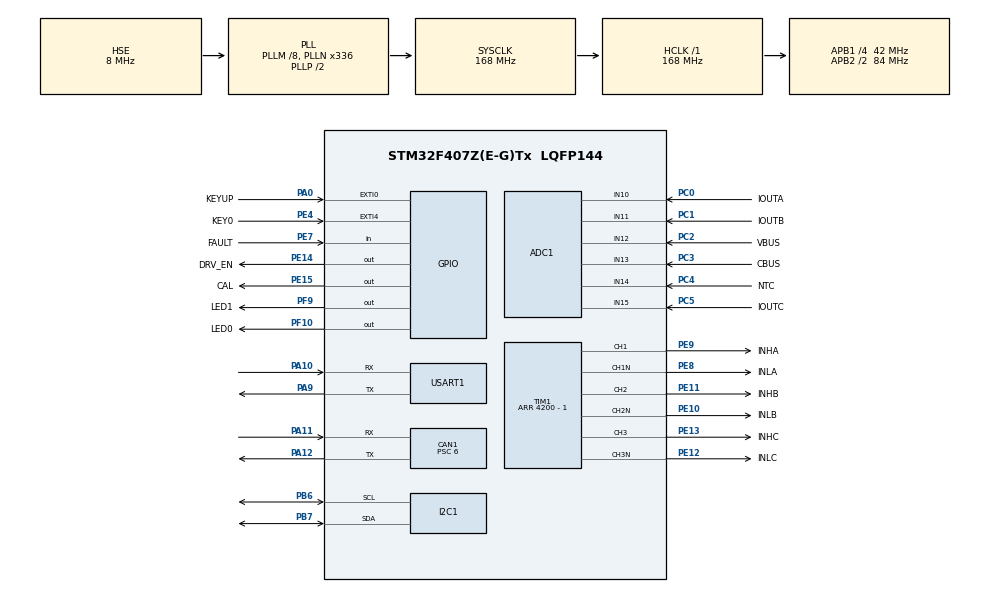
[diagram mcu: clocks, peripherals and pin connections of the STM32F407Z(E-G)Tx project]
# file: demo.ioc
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ADC1.Channel-1\#ChannelRegularConversion=ADC_CHANNEL_12
ADC1.Channel-10\#ChannelInjectedConversion=ADC_CHANNEL_15
ADC1.Channel-3\#ChannelRegularConversion=ADC_CHANNEL_13
ADC1.Channel-4\#ChannelRegularConversion=ADC_CHANNEL_14
ADC1.Channel-8\#ChannelInjectedConversion=ADC_CHANNEL_10
ADC1.Channel-9\#ChannelInjectedConversion=ADC_CHANNEL_11
ADC1.ContinuousConvMode=DISABLE
ADC1.DMAContinuousRequests=ENABLE
ADC1.DiscontinuousConvMode=DISABLE
ADC1.ExternalTrigConv=ADC_SOFTWARE_START
ADC1.ExternalTrigConvEdge=ADC_EXTERNALTRIGCONVEDGE_NONE
ADC1.ExternalTrigInjecConv=ADC_EXTERNALTRIGINJECCONV_T1_CC4
ADC1.InjNumberOfConversion=3
ADC1.InjectedConvMode=None
ADC1.InjectedOffset-10\#ChannelInjectedConversion=0
ADC1.InjectedOffset-8\#ChannelInjectedConversion=0
ADC1.InjectedOffset-9\#ChannelInjectedConversion=0
ADC1.InjectedRank-10\#ChannelInjectedConversion=3
ADC1.InjectedRank-8\#ChannelInjectedConversion=1
ADC1.InjectedRank-9\#ChannelInjectedConversion=2
ADC1.NbrOfConversion=3
ADC1.NbrOfConversionFlag=1
ADC1.Rank-1\#ChannelRegularConversion=1
ADC1.Rank-3\#ChannelRegularConversion=2
ADC1.Rank-4\#ChannelRegularConversion=3
ADC1.SamplingTime-1\#ChannelRegularConversion=ADC_SAMPLETIME_144CYCLES
ADC1.SamplingTime-10\#ChannelInjectedConversion=ADC_SAMPLETIME_28CYCLES
ADC1.SamplingTime-3\#ChannelRegularConversion=ADC_SAMPLETIME_144CYCLES
ADC1.SamplingTime-4\#ChannelRegularConversion=ADC_SAMPLETIME_144CYCLES
ADC1.SamplingTime-8\#ChannelInjectedConversion=ADC_SAMPLETIME_28CYCLES
ADC1.SamplingTime-9\#ChannelInjectedConversion=ADC_SAMPLETIME_28CYCLES
ADC1.ScanConvMode=ENABLE
ADC1.master=1
CAN1.ABOM=ENABLE
CAN1.BS1=CAN_BS1_11TQ
CAN1.BS2=CAN_BS2_2TQ
CAN1.CalculateBaudRate=500000
CAN1.CalculateTimeBit=2000
CAN1.CalculateTimeQuantum=142.85714285714286
CAN1.NART=ENABLE
CAN1.Prescaler=6
CAN1.TXFP=DISABLE
Dma.ADC1.0.Direction=DMA_PERIPH_TO_MEMORY
Dma.ADC1.0.FIFOMode=DMA_FIFOMODE_DISABLE
Dma.ADC1.0.Instance=DMA2_Stream0
Dma.ADC1.0.MemDataAlignment=DMA_MDATAALIGN_HALFWORD
Dma.ADC1.0.MemInc=DMA_MINC_ENABLE
Dma.ADC1.0.Mode=DMA_CIRCULAR
Dma.ADC1.0.PeriphDataAlignment=DMA_PDATAALIGN_HALFWORD
Dma.ADC1.0.PeriphInc=DMA_PINC_DISABLE
Dma.ADC1.0.Priority=DMA_PRIORITY_LOW
Dma.Request0=ADC1
I2C1.I2C_Mode=I2C_Fast
Mcu.Family=STM32F4
Mcu.Name=STM32F407Z(E-G)Tx
Mcu.Package=LQFP144
NVIC.ADC_IRQn=true\:2\:0\:true\:false\:true\:true\:true\:true
NVIC.DMA2_Stream0_IRQn=true\:3\:0\:true\:false\:true\:false\:true\:true
NVIC.EXTI0_IRQn=true\:0\:0\:false\:false\:true\:true\:true\:true
NVIC.EXTI4_IRQn=true\:0\:0\:true\:false\:true\:true\:true\:true
NVIC.PriorityGroup=NVIC_PRIORITYGROUP_4
PA0-WKUP.GPIO_Label=KEYUP
PA0-WKUP.GPIO_ModeDefaultEXTI=GPIO_MODE_IT_FALLING
PA0-WKUP.GPIO_PuPd=GPIO_PULLDOWN
PA0-WKUP.Signal=GPXTI0
PA10.Mode=Asynchronous
PA10.Signal=USART1_RX
PA11.Mode=CAN_Activate
PA11.Signal=CAN1_RX
PA12.Mode=CAN_Activate
PA12.Signal=CAN1_TX
PA9.Mode=Asynchronous
PA9.Signal=USART1_TX
PB6.GPIO_Pu=GPIO_PULLUP
PB6.GPIO_Speed=GPIO_SPEED_FREQ_LOW
PB6.Mode=I2C
PB6.Signal=I2C1_SCL
PB7.GPIO_Pu=GPIO_PULLUP
PB7.GPIO_Speed=GPIO_SPEED_FREQ_LOW
PB7.Mode=I2C
PB7.Signal=I2C1_SDA
PC0.GPIO_Label=IOUTA
PC0.Signal=ADCx_IN10
PC1.GPIO_Label=IOUTB
PC1.Signal=ADCx_IN11
PC2.GPIO_Label=VBUS
PC2.Signal=ADCx_IN12
PC3.GPIO_Label=CBUS
PC3.Signal=ADCx_IN13
PC4.GPIO_Label=NTC
PC4.Signal=ADCx_IN14
PC5.GPIO_Label=IOUTC
PC5.Signal=ADCx_IN15
PE10.GPIO_Label=INLB
PE10.Mode=PWM Generation2 CH2 CH2N
PE10.Signal=TIM1_CH2N
PE11.GPIO_Label=INHB
PE11.Signal=S_TIM1_CH2
PE12.GPIO_Label=INLC
PE12.Mode=PWM Generation3 CH3 CH3N
PE12.Signal=TIM1_CH3N
PE13.GPIO_Label=INHC
PE13.Signal=S_TIM1_CH3
PE14.GPIO_Label=DRV_EN
PE14.GPIO_ModeDefaultOutputPP=GPIO_MODE_OUTPUT_PP
PE14.Signal=GPIO_Output
PE15.GPIO_Label=CAL
PE15.Signal=GPIO_Output
PE4.GPIO_Label=KEY0
PE4.GPIO_ModeDefaultEXTI=GPIO_MODE_IT_FALLING
PE4.GPIO_PuPd=GPIO_PULLDOWN
PE4.Signal=GPXTI4
PE7.GPIO_Label=FAULT
PE7.GPIO_PuPd=GPIO_PULLUP
PE7.Signal=GPIO_Input
PE8.GPIO_Label=INLA
PE8.Mode=PWM Generation1 CH1 CH1N
PE8.Signal=TIM1_CH1N
PE9.GPIO_Label=INHA
PE9.Signal=S_TIM1_CH1
PF10.GPIO_Label=LED0
PF10.PinState=GPIO_PIN_SET
PF10.Signal=GPIO_Output
PF9.GPIO_Label=LED1
PF9.PinState=GPIO_PIN_SET
PF9.Signal=GPIO_Output
PH0-OSC_IN.Mode=HSE-External-Oscillator
PH0-OSC_IN.Signal=RCC_OSC_IN
PH1-OSC_OUT.Mode=HSE-External-Oscillator
PH1-OSC_OUT.Signal=RCC_OSC_OUT
ProjectManager.HeapSize=0x200
ProjectManager.StackSize=0x400
ProjectManager.TargetToolchain=MDK-ARM V5
RCC.48MHZClocksFreq_Value=84000000
RCC.AHBFreq_Value=168000000
RCC.APB1CLKDivider=RCC_HCLK_DIV4
RCC.APB1Freq_Value=42000000
RCC.APB1TimFreq_Value=84000000
RCC.APB2CLKDivider=RCC_HCLK_DIV2
RCC.APB2Freq_Value=84000000
RCC.APB2TimFreq_Value=168000000
RCC.CortexFreq_Value=168000000
RCC.HCLKFreq_Value=168000000
RCC.HSE_VALUE=8000000
RCC.HSI_VALUE=16000000
RCC.LSE_VALUE=32768
RCC.PLLM=8
RCC.PLLN=336
RCC.PLLSourceVirtual=RCC_PLLSOURCE_HSE
RCC.SYSCLKFreq_VALUE=168000000
RCC.SYSCLKSource=RCC_SYSCLKSOURCE_PLLCLK
RCC.VCOOutputFreq_Value=336000000
SH.ADCx_IN10.0=ADC1_IN10,IN10
SH.ADCx_IN11.0=ADC1_IN11,IN11
SH.ADCx_IN12.0=ADC1_IN12,IN12
SH.ADCx_IN13.0=ADC1_IN13,IN13
SH.ADCx_IN14.0=ADC1_IN14,IN14
SH.ADCx_IN15.0=ADC1_IN15,IN15
SH.S_TIM1_CH1.0=TIM1_CH1,PWM Generation1 CH1 CH1N
SH.S_TIM1_CH2.0=TIM1_CH2,PWM Generation2 CH2 CH2N
SH.S_TIM1_CH3.0=TIM1_CH3,PWM Generation3 CH3 CH3N
TIM1.AutoReloadPreload=TIM_AUTORELOAD_PRELOAD_ENABLE
TIM1.AutomaticOutput=TIM_AUTOMATICOUTPUT_DISABLE
TIM1.Channel-Output\ Compare4\ No\ Output=TIM_CHANNEL_4
TIM1.Channel-PWM\ Generation1\ CH1\ CH1N=TIM_CHANNEL_1
TIM1.Channel-PWM\ Generation2\ CH2\ CH2N=TIM_CHANNEL_2
TIM1.Channel-PWM\ Generation3\ CH3\ CH3N=TIM_CHANNEL_3
TIM1.CounterMode=TIM_COUNTERMODE_CENTERALIGNED1
TIM1.DeadTime=148
TIM1.OCMode_4=TIM_OCMODE_TOGGLE
TIM1.OffStateIDLEMode=TIM_OSSI_ENABLE
TIM1.OffStateRunMode=TIM_OSSR_ENABLE
TIM1.Period=4200 - 1
TIM1.Pulse-Output\ Compare4\ No\ Output=3600
TIM1.TIM_MasterOutputTrigger=TIM_TRGO_UPDATE
TIM1.TIM_MasterSlaveMode=TIM_MASTERSLAVEMODE_ENABLE
TIM6.Period=65536-1
TIM6.Prescaler=84 - 1
USART1.VirtualMode=VM_ASYNC
VP_TIM1_VS_ClockSourceINT.Mode=Internal
VP_TIM1_VS_no_output4.Mode=Output Compare4 No Output
VP_TIM6_VS_ClockSourceINT.Mode=Enable_Timer
board=custom

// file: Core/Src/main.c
/* USER CODE BEGIN Header */
/**
 ******************************************************************************
 * @file           : main.c
 * @brief          : Main program body
 ******************************************************************************
 * @attention
 *
 * Copyright (c) 2026 STMicroelectronics.
 * All rights reserved.
 *
 * This software is licensed under terms that can be found in the LICENSE file
 * in the root directory of this software component.
 * If no LICENSE file comes with this software, it is provided AS-IS.
 *
 ******************************************************************************
 */
/* USER CODE END Header */
#include "main.h"
#include "adc.h"
#include "can.h"
#include "dma.h"
#include "i2c.h"
#include "tim.h"
#include "usart.h"
#include "gpio.h"

/* USER CODE BEGIN Includes */
#include <stdio.h>
#include "arm_math.h"
#include "AS5600.h"
#include "adc_signal.h"
#include "foc.h"
#include "delay.h"

#include "FreeRTOSConfig.h"
#include "FreeRTOS.h"
#include "task.h"
/* USER CODE END Includes */

/* USER CODE BEGIN PD */
// 任务句柄

TaskHandle_t AS5600Handle = NULL;    // 编码器采取任务
TaskHandle_t LogHandle = NULL;       // 串口打印任务
TaskHandle_t SpeedLoopHandle = NULL; // 速度环任务句柄
TaskHandle_t CanHandle = NULL;       // CAN任务句柄

static float open_loop_theta = 0.0f;

volatile Motors_State motors_state = MotorsStop; // 电机状态，默认停止
volatile Can_States can_state = CanStop;         // Can总线状态，默认停止

volatile uint16_t adc_Regular_buffer[3]; // 存储ADC规则组数据 V-BUS 母线电压 C-BUS 母线电流 NTC 温度采样

volatile float v_bus = 0.0f; // ⺟线电压采样输出，对应 ADC_VBUS
volatile float c_bus = 0.0f; // ⺟线电流采样输出，对应 ADC_CBUS
volatile float ntc = 0.0f;   // 温度采样输出，对应 ADC_NTC

// 电角度零点偏置校准
volatile float electrical_offset = 0.0f;
volatile float real_elec_rad = 0.0f;
// 零点偏置校准
volatile uint16_t of_a = 0, of_b = 0, of_c = 0;

int16_t raw_a = 0, raw_b = 0, raw_c = 0;
// 采样电流
volatile float Ia = 0.0f, Ib = 0.0f, Ic = 0.0f; // 三相采样电流
volatile float elec_rad = 0.0f;                 // 电角度（弧度制）
volatile float now_rpm = 0.0f;                  // 电角度转速（RPM）

volatile float ialpha = 0.0f;
volatile float ibeta = 0.0f;

float id = 0.0f;
float iq = 0.0f;

volatile AS5600_DataTypeDef enc;
PI_Controller_t pi_id;    // 电流环
PI_Controller_t pi_iq;    // 电流环
PI_Controller_t pi_speed; // 速度环 PI 控制器结构体实例
FOC_Control_t foc_ctrl;

volatile float32_t target_rpm = 0.0f; // 目标转速
volatile float32_t Iq_ref = 0.0f;     // 目标电流 Iq_ref，来自速度环输出，作为电流环的目标值

/* USER CODE END PD */

/* USER CODE BEGIN PM */
/* 根据你的实际 PWM/电源参数设置 */
#define FOC_DT 0.00005f      // 示例：20 kHz 控制周期
#define SPEED_LPF_ALPHA 0.2f // 速度一阶低通滤波系数（取值 0~1，越小抗噪越强但滞后越大）

#define Motor_Speed 100.0f // 目标转速

#define KP_INIT 0.5f
#define KI_INIT 0.05f
#define OUT_MIN -10.0f
#define OUT_MAX 10.0f

/* USER CODE END PM */

void SystemClock_Config(void);

/* USER CODE BEGIN 0 */

void Led_Toggle()
{
  HAL_GPIO_TogglePin(LED0_GPIO_Port, LED0_Pin);
  HAL_GPIO_TogglePin(LED1_GPIO_Port, LED1_Pin);
  delay_ms(100);
  HAL_GPIO_TogglePin(LED0_GPIO_Port, LED0_Pin);
  HAL_GPIO_TogglePin(LED1_GPIO_Port, LED1_Pin);
  delay_ms(100);
  HAL_GPIO_TogglePin(LED0_GPIO_Port, LED0_Pin);
  HAL_GPIO_TogglePin(LED1_GPIO_Port, LED1_Pin);
  delay_ms(100);
}

void Get_Current_Offset(void)
{
  uint32_t sum_a = 0, sum_b = 0, sum_c = 0;
  uint16_t cnt = 0;

  float align_valpha = 1.5f;
  float align_vbeta = 0.0f;
  float d_a, d_b, d_c;

  // AB相采样电流偏置
  HAL_ADC_Start_DMA(&hadc1, (uint32_t *)adc_Regular_buffer, 3);
  HAL_TIM_OC_Start(&htim1, TIM_CHANNEL_4);
  __HAL_TIM_MOE_DISABLE(&htim1);

  while (cnt < 2000)
  {
    // 软件手动单次触发注入组采样
    HAL_ADCEx_InjectedStart(&hadc1);

    // 等待 ADC 硬件采样转换完成（超时设为 10ms）
    if (HAL_ADCEx_InjectedPollForConversion(&hadc1, 10) == HAL_OK)
    {
      sum_a += HAL_ADCEx_InjectedGetValue(&hadc1, ADC_INJECTED_RANK_1);
      sum_b += HAL_ADCEx_InjectedGetValue(&hadc1, ADC_INJECTED_RANK_2);
      sum_c += HAL_ADCEx_InjectedGetValue(&hadc1, ADC_INJECTED_RANK_3);
      cnt++;
    }
    delay_us(100);
  }

  of_a = sum_a / cnt;
  of_b = sum_b / cnt;
  of_c = sum_c / cnt;

  // 获取真实母线电压（单位：V），防止传原始ADC码值
  float real_vbus = FOC_GetVbus(adc_Regular_buffer[0]);
  if (real_vbus < 1.0f)
  {
    real_vbus = 12.0f; // 兜底，防止除零
  }

  // 电角度0°偏置校准
  FOC_SVPWM(align_valpha, align_vbeta, real_vbus, &d_a, &d_b, &d_c);
  TIM1->CCR1 = (uint32_t)(d_a * (__HAL_TIM_GET_AUTORELOAD(&htim1) + 1U));
  TIM1->CCR2 = (uint32_t)(d_b * (__HAL_TIM_GET_AUTORELOAD(&htim1) + 1U));
  TIM1->CCR3 = (uint32_t)(d_c * (__HAL_TIM_GET_AUTORELOAD(&htim1) + 1U));

  HAL_TIM_PWM_Start(&htim1, TIM_CHANNEL_1);
  HAL_TIM_PWM_Start(&htim1, TIM_CHANNEL_2);
  HAL_TIM_PWM_Start(&htim1, TIM_CHANNEL_3);
  HAL_TIMEx_PWMN_Start(&htim1, TIM_CHANNEL_1);
  HAL_TIMEx_PWMN_Start(&htim1, TIM_CHANNEL_2);
  HAL_TIMEx_PWMN_Start(&htim1, TIM_CHANNEL_3);

  __HAL_TIM_MOE_ENABLE(&htim1);
  HAL_TIM_Base_Start(&htim1);

  delay_ms(1000);

  if (as5600_update() == 1)
  {
    // 获得编码器读取数据
    as5600_get_data(&enc);
    electrical_offset = enc.elec_angle; // 电角度
  }

  printf("Offset_A = %d, Offset_B = %d, Offset_C = %d, Offset_Elec = %.3f\n", of_a, of_b, of_c, electrical_offset);
}

// 编码器采集任务
void vAS5600Task(void *argument)
{
  (void)argument;

  for (;;)
  {
    if (motors_state == MotorsStop)
    {
      Led_Toggle();
      vTaskSuspend(NULL);
    }

    // I2C 失败就跳过
    if (as5600_update() == 1)
    {
      // 获得编码器读取数据
      as5600_get_data(&enc);
      elec_rad = enc.elec_angle; // 电角度
      now_rpm = enc.rpm;         // 电角度转速
    }

    HAL_ADC_Start_DMA(&hadc1, (uint32_t *)adc_Regular_buffer, 3);

    vTaskDelay(pdMS_TO_TICKS(1));
  }
}

// ADC采集任务
void vLogTask(void *argument)
{
  (void)argument;

  for (;;)
  {
    if (motors_state == MotorsStop)
    {
      Led_Toggle();
      vTaskSuspend(NULL);
    }
    // 测试计算耗时
    // printf("delay = %d\n", delay);B

    printf("Raw: A = %d, B = %d, C = %d, Ia: %.3f, Ib: %.3f, Ic: %.3f\n", raw_a, raw_b, raw_c, Ia, Ib, Ic);

    // printf("电角度: %.3f, 转速: %.3f\n", real_elec_rad, now_rpm);

    // printf("Ia: %.3f, Ib: %.3f, Ic: %.3f\n", Ia, Ib, Ic);

    printf("VBus: %.3f, CBus: %.3f, NTC: %.3f\n", v_bus, c_bus, ntc);

    // printf("ialpha: %.3f, ibeta: %.3f, id: %.3f, iq: %.3f\n", ialpha, ibeta, id, iq);

    // printf("vd: %.3f, vq: %.3f, duty_a: %.3f, duty_b: %.3f, duty_c: %.3f\n", foc_ctrl.vd, foc_ctrl.vq, foc_ctrl.duty_a, foc_ctrl.duty_b, foc_ctrl.duty_c);

    // printf("目标转速: %.3f, 目标电流Iq_ref: %.3f\n", target_rpm, Iq_ref);

    // printf("pwm: A = %.3f, B = %.3f, c = %.3f\n", foc_ctrl.duty_a, foc_ctrl.duty_b, foc_ctrl.duty_c);

    vTaskDelay(pdMS_TO_TICKS(200));
  }
}

// 速度环
void vSpeedLoopTask(void *argument)
{
  (void)argument;
  float32_t filtered_rpm = 0.0f;

  for (;;)
  {
    if (motors_state == MotorsStop)
    {
      Led_Toggle();
      vTaskSuspend(NULL);
    }

    if (motors_state == MotorsStart)
    {
      float32_t raw_rpm = now_rpm;

      // 一阶低通滤波
      filtered_rpm += SPEED_LPF_ALPHA * (raw_rpm - filtered_rpm);

      // dt = 0.01s（10ms）
      float32_t target_iq = PI_Update(&pi_speed, target_rpm, filtered_rpm, 0.01f);
      Iq_ref = target_iq;
    }
    else
    {
      // 非运行状态强制清零，防止积分冲击
      pi_speed.integral = 0.0f;
      Iq_ref = 0.0f;
    }

    vTaskDelay(pdMS_TO_TICKS(10));
  }
}

void vCANTask(void *argument)
{
  (void)argument;

  CAN_Frame_t frame = {0};
  HAL_StatusTypeDef can_status = HAL_OK;

  if (HAL_CAN_Start(&hcan1) != HAL_OK)
  {
    can_state = CanError;
    printf("CAN States is Failed!\n");
    vTaskDelete(NULL);
  }
  can_state = CanRunning;

  for (;;)
  {
    if (motors_state == MotorsStop)
    {
      Led_Toggle();
      vTaskSuspend(NULL);
    }

    can_status = HAL_OK;

    frame.id = 0x001;
    frame.dlc = 2;
    frame.data[0] = motors_state;
    frame.data[1] = can_state;
    if (CAN_SendFrameWait(&frame) != HAL_OK)
    {
      can_status = HAL_ERROR;
    }

    // 转速/电流
    frame.id = 0x201;
    frame.dlc = 8;
    CAN_Write_16(&frame.data[0], (int16_t)target_rpm);
    CAN_Write_16(&frame.data[2], (int16_t)now_rpm);
    CAN_Write_16(&frame.data[4], (int16_t)(Iq_ref * 1000));
    CAN_Write_16(&frame.data[6], (int16_t)(iq * 1000));
    if (CAN_SendFrameWait(&frame) != HAL_OK)
    {
      can_status = HAL_ERROR;
    }

    // 三相采样电流
    frame.id = 0x202;
    frame.dlc = 6;
    CAN_Write_16(&frame.data[0], (int16_t)(Ia * 1000));
    CAN_Write_16(&frame.data[2], (int16_t)(Ib * 1000));
    CAN_Write_16(&frame.data[4], (int16_t)(Ic * 1000));
    if (CAN_SendFrameWait(&frame) != HAL_OK)
    {
      can_status = HAL_ERROR;
    }

    // 母线电压/电流/温度
    frame.id = 0x203;
    frame.dlc = 6;
    CAN_Write_16(&frame.data[0], (int16_t)(v_bus * 10));
    CAN_Write_16(&frame.data[2], (int16_t)(c_bus * 1000));
    CAN_Write_16(&frame.data[4], (int16_t)(ntc * 100));
    if (CAN_SendFrameWait(&frame) != HAL_OK)
    {
      can_status = HAL_ERROR;
    }

    // PWM占空比
    frame.id = 0x204;
    frame.dlc = 6;
    CAN_Write_16(&frame.data[0], (int16_t)(foc_ctrl.duty_a * 100));
    CAN_Write_16(&frame.data[2], (int16_t)(foc_ctrl.duty_b * 100));
    CAN_Write_16(&frame.data[4], (int16_t)(foc_ctrl.duty_c * 100));
    if (CAN_SendFrameWait(&frame) != HAL_OK)
    {
      can_status = HAL_ERROR;
    }

    // vd/vq/valpha/vbeta
    frame.id = 0x205;
    frame.dlc = 8;
    CAN_Write_16(&frame.data[0], (int16_t)(foc_ctrl.vd * 1000));
    CAN_Write_16(&frame.data[2], (int16_t)(foc_ctrl.vq * 1000));
    CAN_Write_16(&frame.data[4], (int16_t)(foc_ctrl.valpha * 1000));
    CAN_Write_16(&frame.data[6], (int16_t)(foc_ctrl.vbeta * 1000));
    if (CAN_SendFrameWait(&frame) != HAL_OK)
    {
      can_status = HAL_ERROR;
    }

    can_state = (can_status == HAL_OK) ? CanRunning : CanError;

    vTaskDelay(pdMS_TO_TICKS(100));
  }
}

// 创建任务
void vOtherFunction(void)
{
  BaseType_t xAS5600Returned = xTaskCreate(vAS5600Task, "AS5600", 512, NULL, 4, &AS5600Handle);
  BaseType_t xLogReturned = xTaskCreate(vLogTask, "Log", 512, NULL, 0, &LogHandle);
  BaseType_t xSpeedLoopHandle = xTaskCreate(vSpeedLoopTask, "SpeedLoop", 512, NULL, 3, &SpeedLoopHandle);
  BaseType_t xCANTaskHandle = xTaskCreate(vCANTask, "CAN", 512, NULL, 2, &CanHandle);

  // if (xReturned != pdPASS)
  // {
  // }
}

/* USER CODE END 0 */

int main(void)
{

  /* MCU Configuration--------------------------------------------------------*/

  /* Reset of all peripherals, Initializes the Flash interface and the Systick. */
  HAL_Init();

  /* Configure the system clock */
  SystemClock_Config();

  /* Initialize all configured peripherals */
  MX_GPIO_Init();
  MX_DMA_Init();
  MX_I2C1_Init();
  MX_ADC1_Init();
  MX_TIM1_Init();
  MX_TIM6_Init();
  MX_USART1_UART_Init();
  MX_CAN1_Init();
  /* USER CODE BEGIN 2 */

  /* 开启DWT周期计数器，只需执行一次 */
  CoreDebug->DEMCR |= CoreDebug_DEMCR_TRCENA_Msk;
  DWT->CYCCNT = 0;
  DWT->CTRL |= DWT_CTRL_CYCCNTENA_Msk;

  // 初始化定时器tim6
  HAL_TIM_Base_Start(&htim6);

  // 初始化编码器
  while (as5600_init() == 0)
  {
    printf("编码器初始化失败，重试中...\r\n");
    delay_ms(200);
  }

  // 电流环PI初始化控制器
  PI_Init(&pi_id, KP_INIT, KI_INIT, OUT_MIN, OUT_MAX);
  PI_Init(&pi_iq, KP_INIT, KI_INIT, OUT_MIN, OUT_MAX);
  // 速度环PI初始化控制器
  // 参数 2 (Kp): 比例系数。控制响应速度。由于低通滤波有滞后，建议先给小值（如 0.01f 到 0.03f 盲调）
  // 参数 3 (Ki): 积分系数。消除静差。建议从 0.05f ~ 0.1f 开始调校
  PI_Init(&pi_speed, 0.005f, 0.05f, -1.0f, 1.0f);
  // 开机默认目标转速设为 0 RPM（静止）
  target_rpm = Motor_Speed;

  // 确保 DRV_EN 和 CAL 为低
  HAL_GPIO_WritePin(DRV_EN_GPIO_Port, DRV_EN_Pin, GPIO_PIN_RESET);
  HAL_GPIO_WritePin(CAL_GPIO_Port, CAL_Pin, GPIO_PIN_RESET);

  // 可以通电，led灯亮
  HAL_GPIO_WritePin(LED0_GPIO_Port, LED0_Pin, GPIO_PIN_RESET);
  HAL_GPIO_WritePin(LED1_GPIO_Port, LED1_Pin, GPIO_PIN_RESET);

  // 等待按键按下，确认通电，led灯灭
  do
  {
    delay_ms(200);
  } while (motors_state != MotorsReady);

  HAL_GPIO_WritePin(LED0_GPIO_Port, LED0_Pin, GPIO_PIN_SET);
  HAL_GPIO_WritePin(LED1_GPIO_Port, LED1_Pin, GPIO_PIN_SET);

  // 拉高DRV_EN
  HAL_GPIO_WritePin(DRV_EN_GPIO_Port, DRV_EN_Pin, GPIO_PIN_SET);

  // 唤醒完成后确认 FAULT 为⾼电平
  while (HAL_GPIO_ReadPin(FAULT_GPIO_Port, FAULT_Pin) == 0)
  {
    HAL_GPIO_TogglePin(LED0_GPIO_Port, LED0_Pin);
    HAL_GPIO_TogglePin(LED1_GPIO_Port, LED1_Pin);
    delay_ms(100);
  }

  delay_ms(1000); // 等待采样电路稳定

  // 开始进行电流偏置校准 + 电角度0点校准
  Get_Current_Offset();
  motors_state = MotorsOffset;

  HAL_ADCEx_InjectedStart_IT(&hadc1);

  // 10.任务创建
  vOtherFunction();

  // 11.启动FreeRTOS调度器
  vTaskStartScheduler();

  /* USER CODE END 2 */

  /* Infinite loop */
  while (1)
  {

  }
}

void SystemClock_Config(void)
{
  RCC_OscInitTypeDef RCC_OscInitStruct = {0};
  RCC_ClkInitTypeDef RCC_ClkInitStruct = {0};

  /** Configure the main internal regulator output voltage
   */
  __HAL_RCC_PWR_CLK_ENABLE();
  __HAL_PWR_VOLTAGESCALING_CONFIG(PWR_REGULATOR_VOLTAGE_SCALE1);

  /** Initializes the RCC Oscillators according to the specified parameters
   * in the RCC_OscInitTypeDef structure.
   */
  RCC_OscInitStruct.OscillatorType = RCC_OSCILLATORTYPE_HSE;
  RCC_OscInitStruct.HSEState = RCC_HSE_ON;
  RCC_OscInitStruct.PLL.PLLState = RCC_PLL_ON;
  RCC_OscInitStruct.PLL.PLLSource = RCC_PLLSOURCE_HSE;
  RCC_OscInitStruct.PLL.PLLM = 8;
  RCC_OscInitStruct.PLL.PLLN = 336;
  RCC_OscInitStruct.PLL.PLLP = RCC_PLLP_DIV2;
  RCC_OscInitStruct.PLL.PLLQ = 4;
  if (HAL_RCC_OscConfig(&RCC_OscInitStruct) != HAL_OK)
  {
    Error_Handler();
  }

  /** Initializes the CPU, AHB and APB buses clocks
   */
  RCC_ClkInitStruct.ClockType = RCC_CLOCKTYPE_HCLK | RCC_CLOCKTYPE_SYSCLK | RCC_CLOCKTYPE_PCLK1 | RCC_CLOCKTYPE_PCLK2;
  RCC_ClkInitStruct.SYSCLKSource = RCC_SYSCLKSOURCE_PLLCLK;
  RCC_ClkInitStruct.AHBCLKDivider = RCC_SYSCLK_DIV1;
  RCC_ClkInitStruct.APB1CLKDivider = RCC_HCLK_DIV4;
  RCC_ClkInitStruct.APB2CLKDivider = RCC_HCLK_DIV2;

  if (HAL_RCC_ClockConfig(&RCC_ClkInitStruct, FLASH_LATENCY_5) != HAL_OK)
  {
    Error_Handler();
  }
}

/* USER CODE BEGIN 4 */

// 按键外部中断 - 急停
void HAL_GPIO_EXTI_Callback(uint16_t GPIO_Pin)
{
  if (GPIO_Pin == KEY0_Pin)
  {
    // 1.防抖 - 停止接收中断
    HAL_NVIC_DisableIRQ(EXTI4_IRQn);

    // 2.开启急停标志
    motors_state = MotorsStop;

    // 3.相关硬件设备关闭

    // 拉低DRV_EN，DRV8323会瞬间进入休眠，封锁所有MOE管输出
    HAL_GPIO_WritePin(DRV_EN_GPIO_Port, DRV_EN_Pin, GPIO_PIN_RESET);
    // 关闭 TIM1 的 PWM 主输出水闸 (MOE)
    __HAL_TIM_MOE_DISABLE(&htim1);
    // 停止ADC采样转换
    HAL_ADC_Stop_DMA(&hadc1);
    HAL_ADCEx_InjectedStop_IT(&hadc1);
    // 停止PWM通道 (双保险)
    HAL_TIM_PWM_Stop(&htim1, TIM_CHANNEL_1);
    HAL_TIM_PWM_Stop(&htim1, TIM_CHANNEL_2);
    HAL_TIM_PWM_Stop(&htim1, TIM_CHANNEL_3);
    HAL_TIMEx_PWMN_Stop(&htim1, TIM_CHANNEL_1);
    HAL_TIMEx_PWMN_Stop(&htim1, TIM_CHANNEL_2);
    HAL_TIMEx_PWMN_Stop(&htim1, TIM_CHANNEL_3);
  }
  else if (GPIO_Pin == KEYUP_Pin)
  {
    motors_state = MotorsReady;
  }
}
// ADC 注入通道转换完成回调函数
void HAL_ADC_ConvCpltCallback(ADC_HandleTypeDef *hadc)
{
  if (hadc->Instance == ADC1)
  {
    v_bus = FOC_GetVbus(adc_Regular_buffer[0]);
    c_bus = FOC_GetCbus(adc_Regular_buffer[1]);
    ntc = FOC_GetNTC(adc_Regular_buffer[2]);
  }
}

volatile uint32_t foc_cycles = 0;     // 本次耗费的CPU周期数
volatile uint32_t foc_cycles_max = 0; // 记录观察期间的最大值

// ADC 注入通道转换完成回调函数
void HAL_ADCEx_InjectedConvCpltCallback(ADC_HandleTypeDef *hadc)
{
  uint32_t start_cycles = DWT->CYCCNT;

  if (hadc->Instance == ADC1)
  {
    if (motors_state < MotorsOffset)
      return;
    if (motors_state == MotorsOffset)
      motors_state = MotorsStart;

    // 计算真实电角度并归一化（供电流环使用）
    real_elec_rad = elec_rad - electrical_offset;
    if (real_elec_rad < 0.0f)
      real_elec_rad += TWO_PI;
    if (real_elec_rad >= TWO_PI)
      real_elec_rad -= TWO_PI;

    // 读取ADC注入组的采集的ABC三相电流采样输出  --这里只采AB相电流，换算出Ia和Ib后计算得出Ic
    raw_a = HAL_ADCEx_InjectedGetValue(hadc, ADC_INJECTED_RANK_1);
    raw_b = HAL_ADCEx_InjectedGetValue(hadc, ADC_INJECTED_RANK_2);
    raw_c = HAL_ADCEx_InjectedGetValue(hadc, ADC_INJECTED_RANK_3);

    Ia = CurrentSense_Convert(raw_a, of_a);
    Ib = CurrentSense_Convert(raw_b, of_b);
    Ic = CurrentSense_Convert(raw_c, of_c);

    FOC_Clarke(Ia, Ib, &ialpha, &ibeta);
    FOC_Park(ialpha, ibeta, real_elec_rad, &id, &iq);

    // 电流环 双闭环
    foc_ctrl.vd = PI_Update(&pi_id, 0.0f, id, FOC_DT);
    foc_ctrl.vq = PI_Update(&pi_iq, Iq_ref, iq, FOC_DT); // Iq_ref来自速度环

    // 反Park
    FOC_InversePark(foc_ctrl.vd, foc_ctrl.vq, real_elec_rad, &foc_ctrl.valpha, &foc_ctrl.vbeta);

    // SVPWM：先计算占空比，不写 TIM1 CCR
    FOC_SVPWM(foc_ctrl.valpha, foc_ctrl.vbeta, v_bus, &foc_ctrl.duty_a, &foc_ctrl.duty_b, &foc_ctrl.duty_c);

    // 更新占空比
    TIM1->CCR1 = (uint32_t)(foc_ctrl.duty_a * (__HAL_TIM_GET_AUTORELOAD(&htim1) + 1U));
    TIM1->CCR2 = (uint32_t)(foc_ctrl.duty_b * (__HAL_TIM_GET_AUTORELOAD(&htim1) + 1U));
    TIM1->CCR3 = (uint32_t)(foc_ctrl.duty_c * (__HAL_TIM_GET_AUTORELOAD(&htim1) + 1U));
  }
  foc_cycles = DWT->CYCCNT - start_cycles;

  if (foc_cycles > foc_cycles_max)
  {
    foc_cycles_max = foc_cycles;
  }
}

/* USER CODE END 4 */

void Error_Handler(void)
{
  __disable_irq();
  while (1)
  {
  }
}
